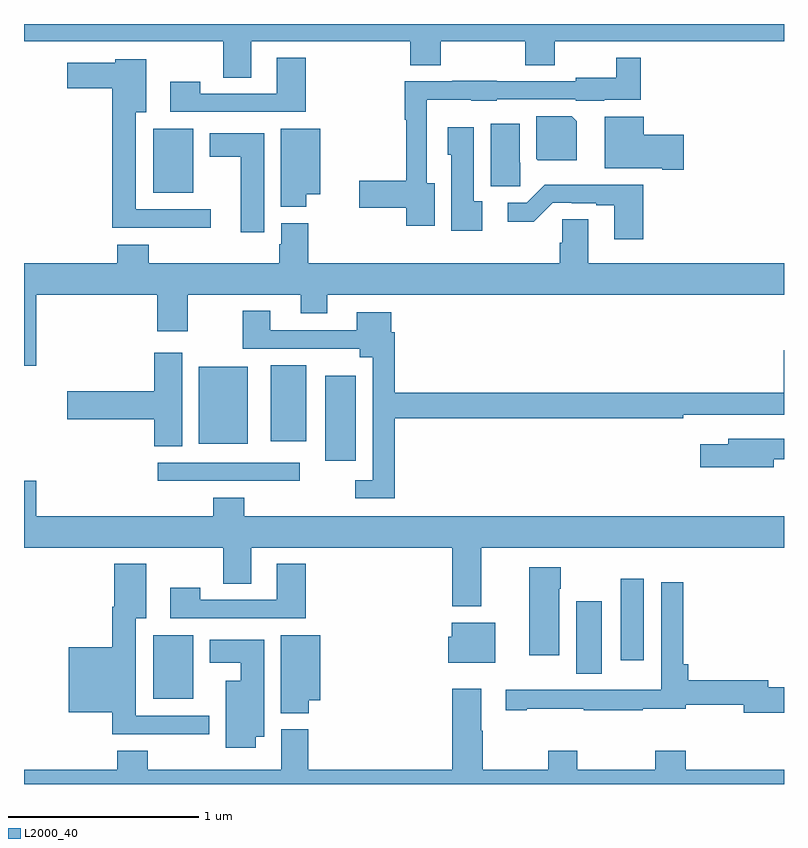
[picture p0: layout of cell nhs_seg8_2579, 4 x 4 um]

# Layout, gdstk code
import gdstk
lib = gdstk.Library(unit=1e-6, precision=1e-09)
def R(c, l, rs):  # rectangles x0, y0, x1, y1
    for r in rs: c.add(gdstk.rectangle(r[:2], r[2:], *l))
def P(c, l, *ps):  # polygons
    for p in ps: c.add(gdstk.Polygon(p, *l))
L2000_40 = (2000, 40)

nhs_seg8_2579 = lib.new_cell('nhs_seg8_2579')
R(nhs_seg8_2579, L2000_40, [(273.68,1138.349,273.892,1138.684), (275.906,1138.48,276.04,1138.861), (276.14,1138.551,276.262,1138.981), (273.705,1139.496,274.45,1139.592), (274.586,1139.601,274.747,1140.049), (273.92,1139.69,274.177,1140.097), (274.298,1139.705,274.486,1140.103), (273.68,1141.013,273.892,1141.348)])
P(nhs_seg8_2579, L2000_40, [(274.195,1141.808),(275.033,1141.808),(275.033,1141.684),(275.193,1141.684),(275.193,1141.808),(275.638,1141.808),(275.638,1141.684),(275.793,1141.684),(275.793,1141.808),(277,1141.808),(277,1141.9),(273,1141.9),(273,1141.808),(274.048,1141.808),(274.048,1141.618),(274.195,1141.618)],
  [(274.484,1141.723),(274.331,1141.723),(274.331,1141.533),(273.927,1141.533),(273.927,1141.597),(273.771,1141.597),(273.771,1141.437),(274.484,1141.437)],
  [(275.161,1141.063),(275.121,1141.063),(275.121,1141.502),(275.355,1141.502),(275.355,1141.496),(275.487,1141.496),(275.487,1141.503),(275.904,1141.503),(275.904,1141.496),(276.054,1141.496),(276.054,1141.502),(276.245,1141.502),(276.245,1141.723),(276.117,1141.723),(276.117,1141.618),(275.904,1141.618),(275.904,1141.599),(275.487,1141.599),(275.487,1141.601),(275.255,1141.601),(275.255,1141.599),(275.005,1141.599),(275.005,1141.396),(275.013,1141.396),(275.013,1141.076),(274.764,1141.076),(274.764,1140.934),(275.012,1140.934),(275.012,1140.837),(275.161,1140.837)],
  [(273.982,1140.924),(273.589,1140.924),(273.589,1141.436),(273.643,1141.436),(273.643,1141.714),(273.48,1141.714),(273.48,1141.696),(273.228,1141.696),(273.228,1141.562),(273.464,1141.562),(273.464,1140.827),(273.982,1140.827)],
  [(275.908,1141.388),(275.882,1141.414),(275.696,1141.414),(275.696,1141.192),(275.704,1141.184),(275.908,1141.184)],
  [(276.472,1141.316),(276.262,1141.316),(276.262,1141.412),(276.056,1141.412),(276.056,1141.142),(276.359,1141.142),(276.359,1141.133),(276.472,1141.133)],
  [(275.612,1141.17),(275.608,1141.17),(275.608,1141.375),(275.456,1141.375),(275.456,1141.047),(275.612,1141.047)],
  [(275.413,1140.966),(275.368,1140.966),(275.368,1141.357),(275.231,1141.357),(275.231,1141.212),(275.249,1141.212),(275.249,1140.812),(275.413,1140.812)],
  [(274.486,1141.004),(274.558,1141.004),(274.558,1141.348),(274.352,1141.348),(274.352,1140.937),(274.486,1140.937)],
  [(274.264,1141.324),(273.977,1141.324),(273.977,1141.202),(274.142,1141.202),(274.142,1140.804),(274.264,1140.804)],
  [(276.26,1141.055),(275.741,1141.055),(275.646,1140.96),(275.547,1140.96),(275.547,1140.858),(275.682,1140.858),(275.784,1140.96),(275.884,1140.96),(275.884,1140.957),(276.011,1140.957),(276.011,1140.945),(276.107,1140.945),(276.107,1140.768),(276.26,1140.768)],
  [(273.064,1140.476),(273.701,1140.476),(273.701,1140.282),(273.861,1140.282),(273.861,1140.476),(274.457,1140.476),(274.457,1140.377),(274.597,1140.377),(274.597,1140.476),(277,1140.476),(277,1140.64),(275.971,1140.64),(275.971,1140.872),(275.832,1140.872),(275.832,1140.75),(275.819,1140.75),(275.819,1140.64),(274.496,1140.64),(274.496,1140.852),(274.355,1140.852),(274.355,1140.741),(274.343,1140.741),(274.343,1140.64),(273.656,1140.64),(273.656,1140.739),(273.491,1140.739),(273.491,1140.64),(273,1140.64),(273,1140.102),(273.064,1140.102)],
  [(274.952,1139.824),(276.47,1139.824),(276.47,1139.844),(277,1139.844),(277,1140.184),(276.998,1140.184),(276.998,1139.96),(274.952,1139.96),(274.952,1140.278),(274.933,1140.278),(274.933,1140.382),(274.751,1140.382),(274.751,1140.288),(274.297,1140.288),(274.297,1140.391),(274.15,1140.391),(274.15,1140.192),(274.766,1140.192),(274.766,1140.146),(274.836,1140.146),(274.836,1139.499),(274.743,1139.499),(274.743,1139.403),(274.952,1139.403)],
  [(273.832,1140.169),(273.686,1140.169),(273.686,1139.966),(273.228,1139.966),(273.228,1139.819),(273.686,1139.819),(273.686,1139.677),(273.832,1139.677)],
  [(276.946,1139.61),(277,1139.61),(277,1139.718),(276.707,1139.718),(276.707,1139.689),(276.558,1139.689),(276.558,1139.567),(276.946,1139.567)],
  [(275.407,1139.144),(277,1139.144),(277,1139.308),(274.16,1139.308),(274.16,1139.407),(273.995,1139.407),(273.995,1139.308),(273.064,1139.308),(273.064,1139.497),(273,1139.497),(273,1139.144),(274.048,1139.144),(274.048,1138.954),(274.195,1138.954),(274.195,1139.144),(275.255,1139.144),(275.255,1138.835),(275.407,1138.835)],
  [(274.484,1139.059),(274.331,1139.059),(274.331,1138.869),(273.927,1138.869),(273.927,1138.933),(273.771,1138.933),(273.771,1138.773),(274.484,1138.773)],
  [(273.976,1138.26),(273.589,1138.26),(273.589,1138.772),(273.643,1138.772),(273.643,1139.059),(273.476,1139.059),(273.476,1138.832),(273.464,1138.832),(273.464,1138.621),(273.236,1138.621),(273.236,1138.277),(273.464,1138.277),(273.464,1138.163),(273.976,1138.163)],
  [(275.818,1138.928),(275.826,1138.928),(275.826,1139.041),(275.66,1139.041),(275.66,1138.578),(275.818,1138.578)],
  [(277,1138.409),(276.916,1138.409),(276.916,1138.445),(276.497,1138.445),(276.497,1138.531),(276.47,1138.531),(276.47,1138.963),(276.354,1138.963),(276.354,1138.396),(276.144,1138.396),(276.144,1138.395),(275.81,1138.395),(275.81,1138.397),(275.535,1138.397),(275.535,1138.287),(275.647,1138.287),(275.647,1138.297),(275.947,1138.297),(275.947,1138.287),(276.257,1138.287),(276.257,1138.297),(276.484,1138.297),(276.484,1138.317),(276.788,1138.317),(276.788,1138.274),(277,1138.274)],
  [(275.479,1138.75),(275.252,1138.75),(275.252,1138.674),(275.234,1138.674),(275.234,1138.538),(275.479,1138.538)],
  [(274.499,1138.34),(274.558,1138.34),(274.558,1138.684),(274.352,1138.684),(274.352,1138.273),(274.499,1138.273)],
  [(274.219,1138.148),(274.264,1138.148),(274.264,1138.66),(273.977,1138.66),(273.977,1138.538),(274.142,1138.538),(274.142,1138.444),(274.061,1138.444),(274.061,1138.092),(274.219,1138.092)],
  [(277,1137.976),(276.482,1137.976),(276.482,1138.075),(276.322,1138.075),(276.322,1137.976),(275.913,1137.976),(275.913,1138.075),(275.758,1138.075),(275.758,1137.976),(275.415,1137.976),(275.415,1138.181),(275.407,1138.181),(275.407,1138.402),(275.255,1138.402),(275.255,1137.976),(274.496,1137.976),(274.496,1138.188),(274.355,1138.188),(274.355,1137.976),(273.651,1137.976),(273.651,1138.075),(273.491,1138.075),(273.491,1137.976),(273,1137.976),(273,1137.9),(277,1137.9)])

lib.write_gds('nhs_seg8_2579.gds')
